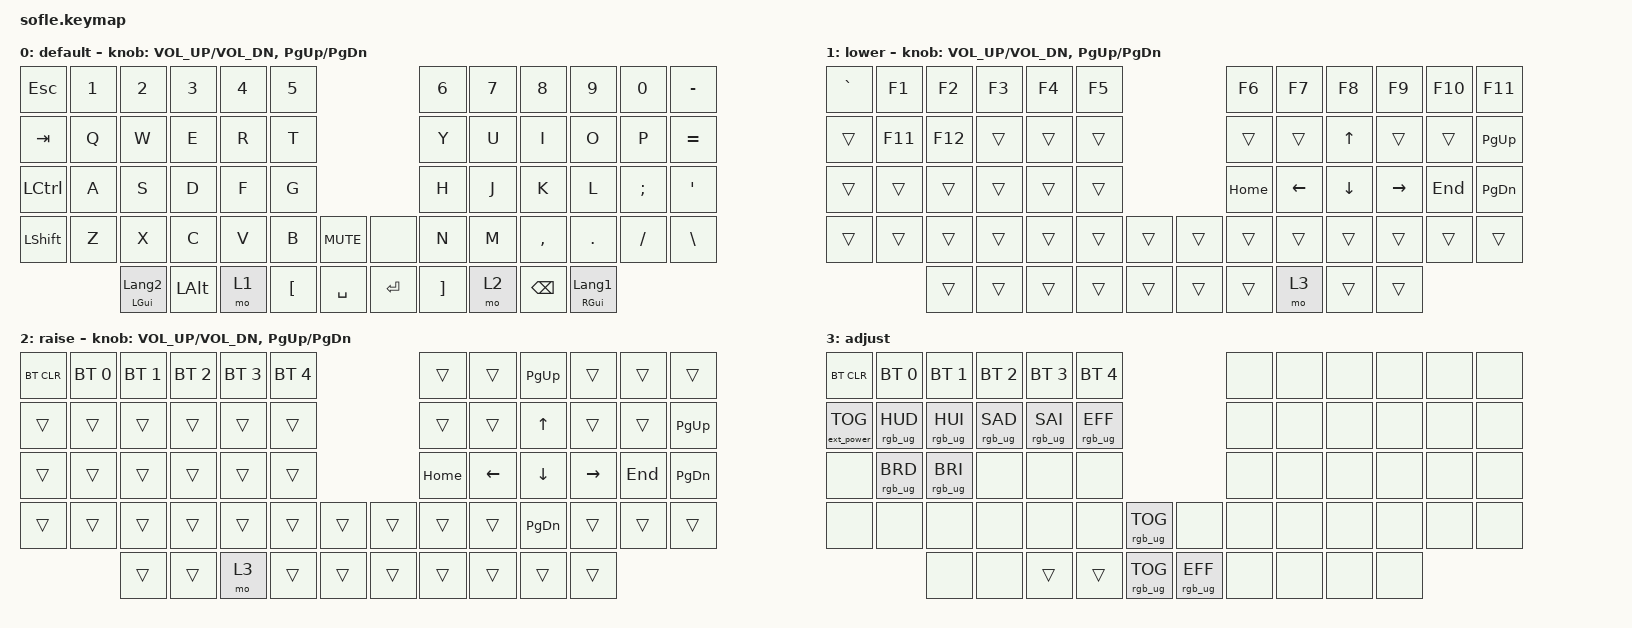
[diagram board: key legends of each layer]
/*
 * Copyright (c) 2020 The ZMK Contributors
 *
 * SPDX-License-Identifier: MIT
 */

#include <behaviors.dtsi>
#include <dt-bindings/zmk/bt.h>
#include <dt-bindings/zmk/ext_power.h>
#include <dt-bindings/zmk/keys.h>
#include <dt-bindings/zmk/rgb.h>

#define BASE 0
#define LOWER 1
#define RAISE 2
#define ADJUST 3

/ {
    // Activate ADJUST layer by pressing raise and lower

    conditional_layers {
        compatible = "zmk,conditional-layers";

        adjust_layer {
            if-layers = <LOWER RAISE>;
            then-layer = <ADJUST>;
        };
    };

    keymap {
        compatible = "zmk,keymap";

        default_layer {
            display-name = "default";

            // ------------------------------------------------------------------------------------------------------------
            // |   `   |  1  |  2  |  3   |  4   |  5   |                   |  6   |  7    |  8    |  9   |   0   |       |
            // |  ESC  |  Q  |  W  |  E   |  R   |  T   |                   |  Y   |  U    |  I    |  O   |   P   | BKSPC |
            // |  TAB  |  A  |  S  |  D   |  F   |  G   |                   |  H   |  J    |  K    |  L   |   ;   |   '   |
            // | SHIFT |  Z  |  X  |  C   |  V   |  B   |  MUTE  |  |       |  N   |  M    |  ,    |  .   |   /   | SHIFT |
            //               | GUI | ALT  | CTRL | LOWER|  ENTER |  | SPACE | RAISE| CTRL  | ALT   | GUI  |

            bindings = <
&kp ESC    &kp N1  &kp N2               &kp N3    &kp N4  &kp N5                                   &kp N6             &kp N7  &kp N8         &kp N9               &kp N0    &kp MINUS
&kp TAB    &kp Q   &kp W                &kp E     &kp R   &kp T                                    &kp Y              &kp U   &kp I          &kp O                &kp P     &kp EQUAL
&kp LCTRL  &kp A   &kp S                &kp D     &kp F   &kp G                                    &kp H              &kp J   &kp K          &kp L                &kp SEMI  &kp SQT
&kp LSHFT  &kp Z   &kp X                &kp C     &kp V   &kp B             &kp C_MUTE    &none    &kp N              &kp M   &kp COMMA      &kp DOT              &kp FSLH  &kp BACKSLASH
                   &mt LGUI LANGUAGE_2  &kp LALT  &mo 1   &kp LEFT_BRACKET  &kp SPACE     &kp RET  &kp RIGHT_BRACKET  &mo 2   &kp BACKSPACE  &mt RGUI LANGUAGE_1
            >;

            sensor-bindings = <&inc_dec_kp C_VOL_UP C_VOL_DN &inc_dec_kp PG_UP PG_DN>;
        };

        lower_layer {
            display-name = "lower";

            // TODO: Some binds are waiting for shifted keycode support.
            // ------------------------------------------------------------------------------------------------------------
            // |       |  F1 |  F2 |  F3  |  F4  |  F5  |                   |  F6  |  F7   |  F8   |  F9  |  F10  |  F11  |
            // |   `   |  1  |  2  |  3   |  4   |  5   |                   |  6   |  7    |  8    |  9   |   0   |  F12  |
            // |       |  !  |  @  |  #   |  $   |  %   |                   |  ^   |  &    |  *    |  (   |   )   |   |   |
            // |       |  =  |  -  |  +   |  {   |  }   |        |  |       |  [   |  ]    |  ;    |  :   |   \   |       |
            //               |     |      |      |      |        |  |       |      |       |       |      |

            bindings = <
&kp GRAVE  &kp F1   &kp F2   &kp F3  &kp F4  &kp F5                    &kp F6    &kp F7    &kp F8        &kp F9     &kp F10  &kp F11
&trans     &kp F11  &kp F12  &trans  &trans  &trans                    &trans    &trans    &kp UP_ARROW  &trans     &trans   &kp PAGE_UP
&trans     &trans   &trans   &trans  &trans  &trans                    &kp HOME  &kp LEFT  &kp DOWN      &kp RIGHT  &kp END  &kp PAGE_DOWN
&trans     &trans   &trans   &trans  &trans  &trans  &trans    &trans  &trans    &trans    &trans        &trans     &trans   &trans
                    &trans   &trans  &trans  &trans  &trans    &trans  &trans    &mo 3     &trans        &trans
            >;

            sensor-bindings = <&inc_dec_kp C_VOL_UP C_VOL_DN &inc_dec_kp PG_UP PG_DN>;
        };

        raise_layer {
            display-name = "raise";

            // ------------------------------------------------------------------------------------------------------------
            // | BTCLR | BT1  | BT2  |  BT3  |  BT4  |  BT5 |                |      |      |       |      |       |       |
            // |       | INS  | PSCR | GUI   |       |      |                | PGUP |      |   ^   |      |       |       |
            // |       | ALT  | CTRL | SHIFT |       | CAPS |                | PGDN |   <- |   v   |  ->  |  DEL  | BKSPC |
            // |       | UNDO | CUT  | COPY  | PASTE |      |      |  |      |      |      |       |      |       |       |
            //                |      |       |       |      |      |  |      |      |      |       |      |

            bindings = <
&bt BT_CLR  &bt BT_SEL 0  &bt BT_SEL 1  &bt BT_SEL 2  &bt BT_SEL 3  &bt BT_SEL 4                    &trans    &trans    &kp PAGE_UP    &trans     &trans   &trans
&trans      &trans        &trans        &trans        &trans        &trans                          &trans    &trans    &kp UP         &trans     &trans   &kp PAGE_UP
&trans      &trans        &trans        &trans        &trans        &trans                          &kp HOME  &kp LEFT  &kp DOWN       &kp RIGHT  &kp END  &kp PAGE_DOWN
&trans      &trans        &trans        &trans        &trans        &trans        &trans    &trans  &trans    &trans    &kp PAGE_DOWN  &trans     &trans   &trans
                          &trans        &trans        &mo 3         &trans        &trans    &trans  &trans    &trans    &trans         &trans
            >;

            sensor-bindings = <&inc_dec_kp C_VOL_UP C_VOL_DN &inc_dec_kp PG_UP PG_DN>;
        };

        adjust_layer {
            // ----------------------------------------------------------------------------------------------------------------------------
            // | BTCLR  |  BT1    |  BT2    |   BT3   |   BT4   |   BT5   |                  |      |      |       |      |       |       |
            // | EXTPWR | RGB_HUD | RGB_HUI | RGB_SAD | RGB_SAI | RGB_EFF |                  |      |      |       |      |       |       |
            // |        | RGB_BRD | RGB_BRI |         |         |         |                  |      |      |       |      |       |       |
            // |        |         |         |         |         |         | RGB_TOG | |      |      |      |       |      |       |       |
            //                    |         |         |         |         |         | |      |      |      |       |      |

            display-name = "adjust";
            bindings = <
&bt BT_CLR         &bt BT_SEL 0     &bt BT_SEL 1     &bt BT_SEL 2     &bt BT_SEL 3     &bt BT_SEL 4                                         &none  &none  &none  &none  &none  &none
&ext_power EP_TOG  &rgb_ug RGB_HUD  &rgb_ug RGB_HUI  &rgb_ug RGB_SAD  &rgb_ug RGB_SAI  &rgb_ug RGB_EFF                                      &none  &none  &none  &none  &none  &none
&none              &rgb_ug RGB_BRD  &rgb_ug RGB_BRI  &none            &none            &none                                                &none  &none  &none  &none  &none  &none
&none              &none            &none            &none            &none            &none            &rgb_ug RGB_TOG    &none            &none  &none  &none  &none  &none  &none
                                    &none            &none            &trans           &trans           &rgb_ug RGB_TOG    &rgb_ug RGB_EFF  &none  &none  &none  &none
            >;
        };
    };
};
